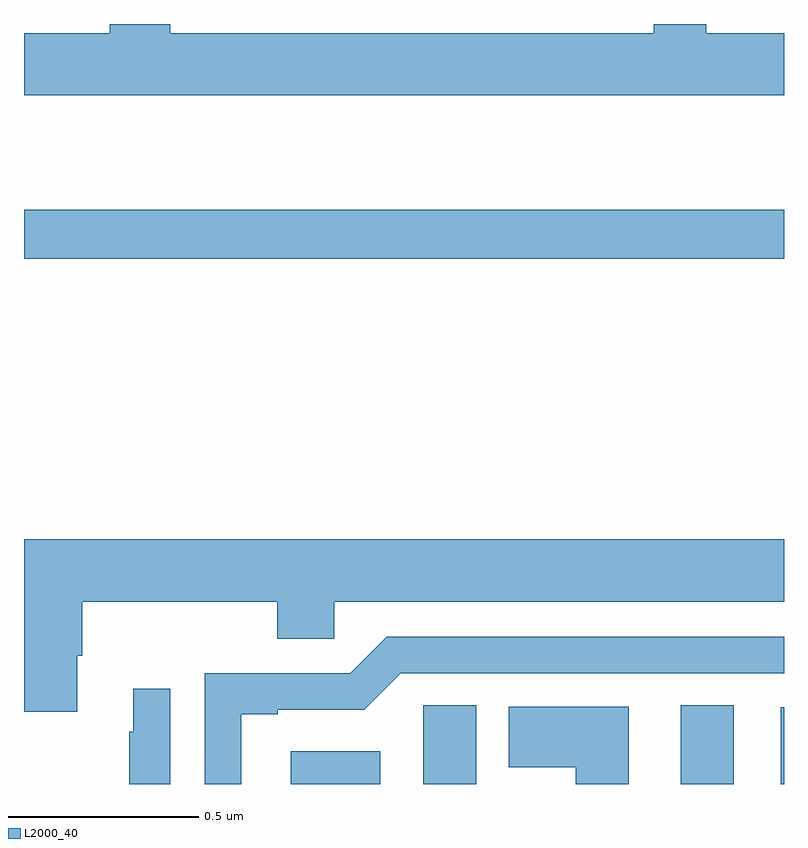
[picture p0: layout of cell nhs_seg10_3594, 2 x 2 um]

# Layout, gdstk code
import gdstk
lib = gdstk.Library(unit=1e-6, precision=1e-09)
def R(c, l, rs):  # rectangles x0, y0, x1, y1
    for r in rs: c.add(gdstk.rectangle(r[:2], r[2:], *l))
def P(c, l, *ps):  # polygons
    for p in ps: c.add(gdstk.Polygon(p, *l))
L2000_40 = (2000, 40)

nhs_seg10_3594 = lib.new_cell('nhs_seg10_3594')
R(nhs_seg10_3594, L2000_40, [(155.702,1302.5,155.938,1302.586), (156.728,1302.5,156.868,1302.707), (156.992,1302.5,157,1302.702), (155,1303.882,157,1304.011)])
P(nhs_seg10_3594, L2000_40, [(157,1304.476),(156.795,1304.476),(156.795,1304.5),(156.657,1304.5),(156.657,1304.476),(155.385,1304.476),(155.385,1304.5),(155.225,1304.5),(155.225,1304.476),(155,1304.476),(155,1304.312),(157,1304.312)],
  [(155.14,1302.838),(155.153,1302.838),(155.153,1302.98),(155.666,1302.98),(155.666,1302.882),(155.817,1302.882),(155.817,1302.98),(157,1302.98),(157,1303.144),(155,1303.144),(155,1302.69),(155.14,1302.69)],
  [(155.572,1302.684),(155.668,1302.684),(155.668,1302.696),(155.895,1302.696),(155.991,1302.792),(157,1302.792),(157,1302.888),(155.955,1302.888),(155.859,1302.792),(155.475,1302.792),(155.475,1302.5),(155.572,1302.5)],
  [(155.385,1302.751),(155.288,1302.751),(155.288,1302.638),(155.277,1302.638),(155.277,1302.5),(155.385,1302.5)],
  [(156.19,1302.707),(156.051,1302.707),(156.051,1302.596),(156.05,1302.596),(156.05,1302.5),(156.19,1302.5)],
  [(156.592,1302.703),(156.275,1302.703),(156.275,1302.544),(156.452,1302.544),(156.452,1302.5),(156.592,1302.5)])

lib.write_gds('nhs_seg10_3594.gds')
